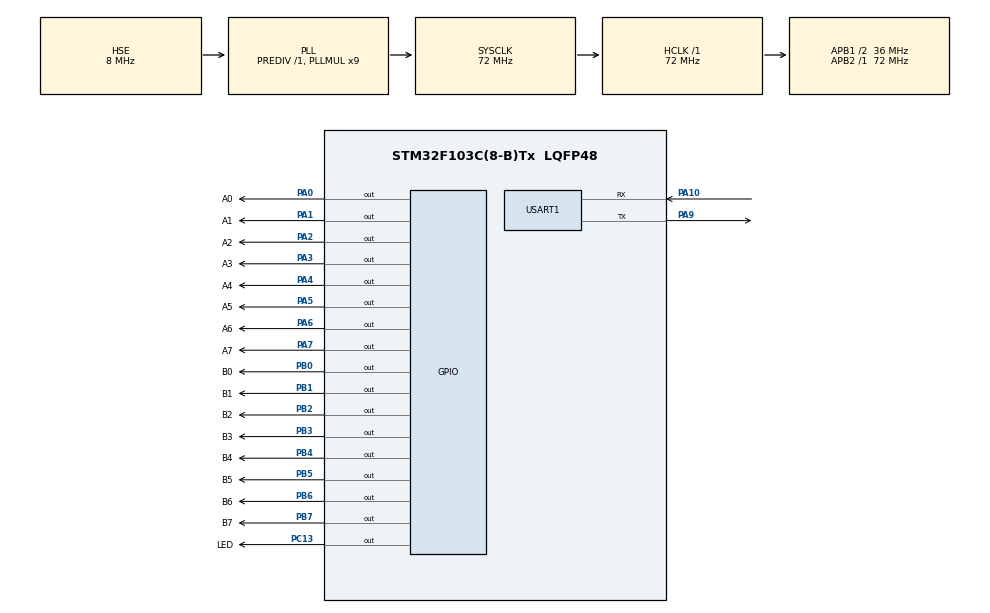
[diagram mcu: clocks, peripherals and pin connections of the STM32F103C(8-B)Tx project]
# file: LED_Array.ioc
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Dma.Request0=TIM1_UP
Dma.Request1=TIM1_CH1
Dma.Request2=TIM1_CH2
Dma.TIM1_CH1.1.Direction=DMA_MEMORY_TO_PERIPH
Dma.TIM1_CH1.1.Instance=DMA1_Channel2
Dma.TIM1_CH1.1.MemDataAlignment=DMA_MDATAALIGN_HALFWORD
Dma.TIM1_CH1.1.MemInc=DMA_MINC_ENABLE
Dma.TIM1_CH1.1.Mode=DMA_NORMAL
Dma.TIM1_CH1.1.PeriphDataAlignment=DMA_PDATAALIGN_HALFWORD
Dma.TIM1_CH1.1.PeriphInc=DMA_PINC_DISABLE
Dma.TIM1_CH1.1.Priority=DMA_PRIORITY_HIGH
Dma.TIM1_CH2.2.Direction=DMA_MEMORY_TO_PERIPH
Dma.TIM1_CH2.2.Instance=DMA1_Channel3
Dma.TIM1_CH2.2.MemDataAlignment=DMA_MDATAALIGN_HALFWORD
Dma.TIM1_CH2.2.MemInc=DMA_MINC_DISABLE
Dma.TIM1_CH2.2.Mode=DMA_NORMAL
Dma.TIM1_CH2.2.PeriphDataAlignment=DMA_PDATAALIGN_HALFWORD
Dma.TIM1_CH2.2.PeriphInc=DMA_PINC_DISABLE
Dma.TIM1_CH2.2.Priority=DMA_PRIORITY_HIGH
Dma.TIM1_UP.0.Direction=DMA_MEMORY_TO_PERIPH
Dma.TIM1_UP.0.Instance=DMA1_Channel5
Dma.TIM1_UP.0.MemDataAlignment=DMA_MDATAALIGN_HALFWORD
Dma.TIM1_UP.0.MemInc=DMA_MINC_DISABLE
Dma.TIM1_UP.0.Mode=DMA_NORMAL
Dma.TIM1_UP.0.PeriphDataAlignment=DMA_PDATAALIGN_HALFWORD
Dma.TIM1_UP.0.PeriphInc=DMA_PINC_DISABLE
Dma.TIM1_UP.0.Priority=DMA_PRIORITY_HIGH
Mcu.Family=STM32F1
Mcu.Name=STM32F103C(8-B)Tx
Mcu.Package=LQFP48
NVIC.DMA1_Channel2_IRQn=true\:0\:0\:false\:false\:true
NVIC.DMA1_Channel3_IRQn=true\:0\:0\:false\:false\:true
NVIC.DMA1_Channel5_IRQn=true\:0\:0\:false\:false\:true
NVIC.PriorityGroup=NVIC_PRIORITYGROUP_4
NVIC.TIM1_CC_IRQn=true\:0\:0\:false\:false\:true
NVIC.USART1_IRQn=true\:0\:0\:false\:false\:true
PA0-WKUP.GPIO_Label=A0
PA0-WKUP.Signal=GPIO_Output
PA1.GPIO_Label=A1
PA1.Signal=GPIO_Output
PA10.Mode=Asynchronous
PA10.Signal=USART1_RX
PA13.Mode=Serial_Wire
PA13.Signal=SYS_JTMS-SWDIO
PA14.Mode=Serial_Wire
PA14.Signal=SYS_JTCK-SWCLK
PA2.GPIO_Label=A2
PA2.Signal=GPIO_Output
PA3.GPIO_Label=A3
PA3.Signal=GPIO_Output
PA4.GPIO_Label=A4
PA4.Signal=GPIO_Output
PA5.GPIO_Label=A5
PA5.Signal=GPIO_Output
PA6.GPIO_Label=A6
PA6.Signal=GPIO_Output
PA7.GPIO_Label=A7
PA7.Signal=GPIO_Output
PA9.Mode=Asynchronous
PA9.Signal=USART1_TX
PB0.GPIO_Label=B0
PB0.Signal=GPIO_Output
PB1.GPIO_Label=B1
PB1.Signal=GPIO_Output
PB2.GPIO_Label=B2
PB2.Signal=GPIO_Output
PB3.GPIO_Label=B3
PB3.Signal=GPIO_Output
PB4.GPIO_Label=B4
PB4.Signal=GPIO_Output
PB5.GPIO_Label=B5
PB5.Signal=GPIO_Output
PB6.GPIO_Label=B6
PB6.Signal=GPIO_Output
PB7.GPIO_Label=B7
PB7.Signal=GPIO_Output
PC13-TAMPER-RTC.GPIO_Label=LED
PC13-TAMPER-RTC.Signal=GPIO_Output
PC14-OSC32_IN.Mode=LSE-External-Oscillator
PC14-OSC32_IN.Signal=RCC_OSC32_IN
PC15-OSC32_OUT.Mode=LSE-External-Oscillator
PC15-OSC32_OUT.Signal=RCC_OSC32_OUT
PD0-OSC_IN.Mode=HSE-External-Oscillator
PD0-OSC_IN.Signal=RCC_OSC_IN
PD1-OSC_OUT.Mode=HSE-External-Oscillator
PD1-OSC_OUT.Signal=RCC_OSC_OUT
ProjectManager.HeapSize=0x200
ProjectManager.StackSize=0x400
ProjectManager.TargetToolchain=SW4STM32
RCC.AHBFreq_Value=72000000
RCC.APB1CLKDivider=RCC_HCLK_DIV2
RCC.APB1Freq_Value=36000000
RCC.APB1TimFreq_Value=72000000
RCC.APB2Freq_Value=72000000
RCC.APB2TimFreq_Value=72000000
RCC.HCLKFreq_Value=72000000
RCC.PLLMUL=RCC_PLL_MUL9
RCC.PLLSourceVirtual=RCC_PLLSOURCE_HSE
RCC.RTCClockSelection=RCC_RTCCLKSOURCE_LSE
RCC.SYSCLKFreq_VALUE=72000000
RCC.SYSCLKSource=RCC_SYSCLKSOURCE_PLLCLK
RCC.USBFreq_Value=48000000
RCC.USBPrescaler=RCC_USBCLKSOURCE_PLL_DIV1_5
TIM1.Channel-Output\ Compare1\ No\ Output=TIM_CHANNEL_1
TIM1.Channel-Output\ Compare2\ No\ Output=TIM_CHANNEL_2
TIM1.Period=1999
TIM1.Prescaler=17999
USART1.VirtualMode=VM_ASYNC
VP_RTC_VS_RTC_Activate.Mode=RTC_Enabled
VP_TIM1_VS_ClockSourceINT.Mode=Internal
VP_TIM1_VS_no_output1.Mode=Output Compare1 No Output
VP_TIM1_VS_no_output2.Mode=Output Compare2 No Output
board=LED_Array

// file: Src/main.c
/**
  ******************************************************************************
  * File Name          : main.c
  * Description        : Main program body
  ******************************************************************************
  *
  * COPYRIGHT(c) 2018 STMicroelectronics
  *
  * Redistribution and use in source and binary forms, with or without modification,
  * are permitted provided that the following conditions are met:
  *   1. Redistributions of source code must retain the above copyright notice,
  *      this list of conditions and the following disclaimer.
  *   2. Redistributions in binary form must reproduce the above copyright notice,
  *      this list of conditions and the following disclaimer in the documentation
  *      and/or other materials provided with the distribution.
  *   3. Neither the name of STMicroelectronics nor the names of its contributors
  *      may be used to endorse or promote products derived from this software
  *      without specific prior written permission.
  *
  * THIS SOFTWARE IS PROVIDED BY THE COPYRIGHT HOLDERS AND CONTRIBUTORS "AS IS"
  * AND ANY EXPRESS OR IMPLIED WARRANTIES, INCLUDING, BUT NOT LIMITED TO, THE
  * IMPLIED WARRANTIES OF MERCHANTABILITY AND FITNESS FOR A PARTICULAR PURPOSE ARE
  * DISCLAIMED. IN NO EVENT SHALL THE COPYRIGHT HOLDER OR CONTRIBUTORS BE LIABLE
  * FOR ANY DIRECT, INDIRECT, INCIDENTAL, SPECIAL, EXEMPLARY, OR CONSEQUENTIAL
  * DAMAGES (INCLUDING, BUT NOT LIMITED TO, PROCUREMENT OF SUBSTITUTE GOODS OR
  * SERVICES; LOSS OF USE, DATA, OR PROFITS; OR BUSINESS INTERRUPTION) HOWEVER
  * CAUSED AND ON ANY THEORY OF LIABILITY, WHETHER IN CONTRACT, STRICT LIABILITY,
  * OR TORT (INCLUDING NEGLIGENCE OR OTHERWISE) ARISING IN ANY WAY OUT OF THE USE
  * OF THIS SOFTWARE, EVEN IF ADVISED OF THE POSSIBILITY OF SUCH DAMAGE.
  *
  ******************************************************************************
  */
#include "main.h"
#include "stm32f1xx_hal.h"
#include "dma.h"
#include "rtc.h"
#include "tim.h"
#include "usart.h"
#include "gpio.h"

/* USER CODE BEGIN Includes */
#include "ws2812b/ws2812b.h"
#include "led_array.h"

/* USER CODE END Includes */

/* USER CODE BEGIN PV */
/* Private variables ---------------------------------------------------------*/

/* USER CODE END PV */

void SystemClock_Config(void);
void Error_Handler(void);

/* USER CODE BEGIN PFP */
/* Private function prototypes -----------------------------------------------*/

/* USER CODE END PFP */

/* USER CODE BEGIN 0 */

extern volatile int lastRXtck;
extern volatile uint32_t rxCnt;

volatile uint32_t tck=0;

void HAL_SYSTICK_Callback(void)
{
	tck++;
}

/* USER CODE END 0 */

int main(void)
{

  /* USER CODE BEGIN 1 */

	uint8_t rxbuffer[1000] = {0};

  /* USER CODE END 1 */

  /* MCU Configuration----------------------------------------------------------*/

  /* Reset of all peripherals, Initializes the Flash interface and the Systick. */
  HAL_Init();

  /* Configure the system clock */
  SystemClock_Config();

  /* Initialize all configured peripherals */
  MX_GPIO_Init();
  MX_DMA_Init();
  MX_USART1_UART_Init();
  MX_TIM1_Init();
  MX_RTC_Init();

  /* USER CODE BEGIN 2 */

  LED_Init();

  LED_fill(0,0,0);
  //setPixel(0,0,30,30,30);

  HAL_UART_Receive_IT(&huart1, rxbuffer, 100); //Empfängt eine Nachricht per USART

  /* USER CODE END 2 */

  /* Infinite loop */
  while (1)
  {

  /* USER CODE BEGIN 3 */
	  LED_clear();
	  LED_start();

	  HAL_Delay(100);
	  //LED_writeText("XgXgXgXGXGXGXG",0,255,0,0);

//	  LED_setBlk(0,72,20,20,20);
//	  LED_start();
//	  HAL_Delay(500);
//	  LED_setBlk(0,72,50,0,0);
//	  LED_start();
//	  HAL_Delay(500);
//	  LED_setBlk(0,72,0,50,0);
//	  LED_start();
//	  HAL_Delay(500);
//	  LED_setBlk(0,72,0,0,50);
//	  LED_start();
//	  HAL_Delay(500);

//
//	  LED_clear();
//	  LED_start();

	  //HAL_UART_Receive_IT(&huart1,rxbuffer,5);

	  uint8_t tempbuf[100];

	  if (tck-lastRXtck > 1000 && rxCnt > 0) // ist was gekommen
	  {
		  //machen
		  int i=0;
		  for(;i<rxCnt;i++)
		  {
			  tempbuf[i] = rxbuffer[i];
		  }
		  rxCnt = 0;
		  tempbuf[i]=0;
		  HAL_UART_Transmit(&huart1, tempbuf, i,0xffff); //Überträgt eine Nachricht per USART

		  HAL_UART_Receive_IT(&huart1, rxbuffer, 100); //Empfängt eine Nachricht per USART
	  }

	  LED_runText(tempbuf,128,0,50);

//	  HAL_Delay(500);
	  //LED_runText("Franz jagt im komplett verwahrlosten Auto Quer durch Bayern.1einself",128,0,50);
//	  char t[] = {'H','a','l','l','o',' ','J',96+31,'r','g','!'};
//	  LED_runText(t,255,0,0);
//	  LED_writeChar('T',72-7,255,0,0);
	  //HAL_Delay(2000);
//
//	  LED_writeChar('T',72-14,0,255,0);
//	  HAL_Delay(1000);
//
//	  LED_writeChar('T',72-21,0,0,255);
//	  HAL_Delay(3000);

	  //LED_writeText("Franz jagt im komplett verwahrlosten Auto Quer durch Bayern.1einself",128,0,50);
	  //LED_start();
	  //HAL_Delay(3000);
//	  clearArr();
	  //LED_writeText("ABCDEFG",0,0,0,255);
//	  if(do_it) visHandle();
//	  HAL_Delay(500);
//
//	  for (int i =1; i< 32;i++)
//	  {
//		  setBlk(i-1,1,0,0,0);
//		  setBlk(i,1,100,0,0);
//		  visHandle();
//		  HAL_Delay(20);
//	  }
//	  for (int i =32; i>0;i--)
//	  {
//		  setBlk(i,1,0,0,0);
//		  setBlk(i+1,1,100,0,0);
//		  visHandle();
//		  HAL_Delay(20);
//	  }
//	  setLBuffer(100,0,0);
//	  visHandle();
//	  HAL_Delay(500);
//	  setLBuffer(0,100,0);
//	  visHandle();
//	  HAL_Delay(500);
//	  setLBuffer(0,0,100);
//	  visHandle();
//	  HAL_Delay(500);

  }
  /* USER CODE END 3 */

}

/** System Clock Configuration
*/
void SystemClock_Config(void)
{

  RCC_OscInitTypeDef RCC_OscInitStruct;
  RCC_ClkInitTypeDef RCC_ClkInitStruct;
  RCC_PeriphCLKInitTypeDef PeriphClkInit;

    /**Initializes the CPU, AHB and APB busses clocks
    */
  RCC_OscInitStruct.OscillatorType = RCC_OSCILLATORTYPE_HSE|RCC_OSCILLATORTYPE_LSE;
  RCC_OscInitStruct.HSEState = RCC_HSE_ON;
  RCC_OscInitStruct.HSEPredivValue = RCC_HSE_PREDIV_DIV1;
  RCC_OscInitStruct.LSEState = RCC_LSE_ON;
  RCC_OscInitStruct.HSIState = RCC_HSI_ON;
  RCC_OscInitStruct.PLL.PLLState = RCC_PLL_ON;
  RCC_OscInitStruct.PLL.PLLSource = RCC_PLLSOURCE_HSE;
  RCC_OscInitStruct.PLL.PLLMUL = RCC_PLL_MUL9;
  if (HAL_RCC_OscConfig(&RCC_OscInitStruct) != HAL_OK)
  {
    Error_Handler();
  }

    /**Initializes the CPU, AHB and APB busses clocks
    */
  RCC_ClkInitStruct.ClockType = RCC_CLOCKTYPE_HCLK|RCC_CLOCKTYPE_SYSCLK
                              |RCC_CLOCKTYPE_PCLK1|RCC_CLOCKTYPE_PCLK2;
  RCC_ClkInitStruct.SYSCLKSource = RCC_SYSCLKSOURCE_PLLCLK;
  RCC_ClkInitStruct.AHBCLKDivider = RCC_SYSCLK_DIV1;
  RCC_ClkInitStruct.APB1CLKDivider = RCC_HCLK_DIV2;
  RCC_ClkInitStruct.APB2CLKDivider = RCC_HCLK_DIV1;

  if (HAL_RCC_ClockConfig(&RCC_ClkInitStruct, FLASH_LATENCY_2) != HAL_OK)
  {
    Error_Handler();
  }

  PeriphClkInit.PeriphClockSelection = RCC_PERIPHCLK_RTC;
  PeriphClkInit.RTCClockSelection = RCC_RTCCLKSOURCE_LSE;
  if (HAL_RCCEx_PeriphCLKConfig(&PeriphClkInit) != HAL_OK)
  {
    Error_Handler();
  }

    /**Configure the Systick interrupt time
    */
  HAL_SYSTICK_Config(HAL_RCC_GetHCLKFreq()/1000);

    /**Configure the Systick
    */
  HAL_SYSTICK_CLKSourceConfig(SYSTICK_CLKSOURCE_HCLK);

  /* SysTick_IRQn interrupt configuration */
  HAL_NVIC_SetPriority(SysTick_IRQn, 0, 0);
}

void Error_Handler(void)
{
  while(1)
  {
  }
}

/************************ (C) COPYRIGHT STMicroelectronics *****END OF FILE****/
